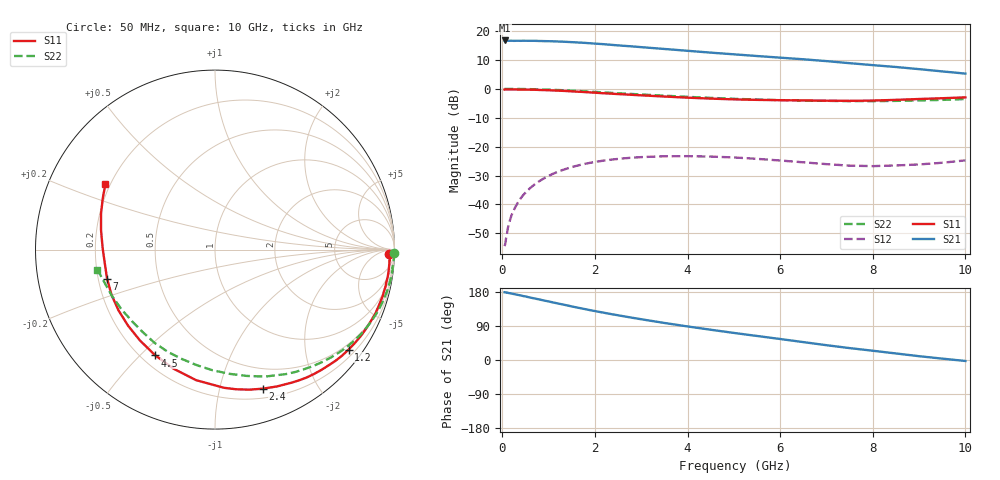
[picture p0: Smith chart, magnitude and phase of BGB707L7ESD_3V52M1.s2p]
!  Infineon Technologies AG
!  BGB707L7ESD RU919007 w#7 Sample Build #08493 Teil Nr. 3
!  Vce = 3.5V, Ic = 2.1mA
!  DATUM: 30.06.2009 10:56:32
# GHz  S  MA  R  50
!f  S11  S21  S12  S22
!GHz  Mag  Ang  Mag  Ang  Mag  Ang  Mag  Ang
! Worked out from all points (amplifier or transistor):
!   52 points, 50 MHz to 10 GHz, reference 50 ohm
!   highest |S21| = 16.7 dB at 60 MHz (marker M1)
!   |S21| within 3 dB of that: start of sweep to 3.545 GHz
!   unconditionally stable (mu >= 1): 7.055 GHz to end of sweep
!   at 130 MHz: K = 0.02, MSG = 32.1 dB, |S12| = -47.5 dB
!   at 1.4 GHz: K = 0.06, MSG = 21.9 dB, |S12| = -27.6 dB
!   at 10 GHz: K = 1.09, MAG = 13.1 dB, |S12| = -24.8 dB
!   lowest NFmin = 0.40 dB at 100 MHz
!   S11 on the Smith chart (normalised r, x): 50 MHz: 38, -34; 1.2 GHz: 0.36, -2.97; 2.4 GHz: 0.29, -1.36; 4.5 GHz: 0.26, -0.56; 7 GHz: 0.24, -0.12; 10 GHz: 0.18, +0.27
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0.05  0.9712 -1.5  6.723 178.9  0.001899 86.3  0.9978 -0.9
0.06  0.9761 -2.2  6.857 178.7  0.00203 80.3  0.9985 -1.2
0.08  0.9732 -2.1  6.736 177.9  0.002565 87.1  0.9984 -1.7
0.09  0.9773 -2.8  6.792 178.3  0.002836 88.0  0.9985 -1.9
0.1  0.9751 -3.2  6.757 177.5  0.003039 84.8  0.9979 -2.2
0.2  0.9747 -6.3  6.784 175.4  0.006517 85.4  0.9967 -4.4
0.4  0.9721 -12.2  6.754 170.3  0.01285 81.4  0.9929 -8.8
0.7  0.9621 -21.6  6.756 162.2  0.02228 75.1  0.9827 -15.4
1.2  0.9297 -36.8  6.576 149.1  0.03676 64.3  0.953 -26.2
1.5  0.9032 -45.7  6.411 141.4  0.04424 58.0  0.9288 -32.6
1.8  0.8762 -54.5  6.211 134.0  0.05065 52.1  0.9026 -38.6
2.2  0.8371 -65.6  5.9 124.6  0.05751 44.7  0.8657 -46.3
2.4  0.8197 -70.9  5.718 120.1  0.06018 41.2  0.8478 -50.0
2.8  0.787 -81.4  5.416 111.6  0.06435 34.9  0.814 -57.0
3.5  0.7351 -98.2  4.886 97.8  0.06814 25.4  0.7608 -68.4
4  0.7027 -109.1  4.545 88.6  0.06844 19.8  0.7261 -75.8
4.5  0.6768 -119.4  4.223 79.9  0.06728 15.0  0.6969 -83.3
5.5  0.6435 -138.9  3.689 63.4  0.06151 8.5  0.6521 -98.9
6.5  0.6292 -156.4  3.24 47.2  0.05356 7.6  0.6275 -114.8
7  0.6228 -164.9  3.011 39.1  0.04979 9.6  0.6191 -123.1
8.5  0.6437 170.5  2.383 17.3  0.04724 25.4  0.6184 -147.5
10  0.7108 149.2  1.832 -2.6  0.05785 37.7  0.6646 -170.3
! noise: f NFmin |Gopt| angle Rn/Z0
0.1  0.4  0.68  2  0.23
0.45  0.51  0.68  4  0.23
0.9  0.57  0.7  13  0.22
1.8  0.65  0.54  36  0.22
5  1.07  0.43  79  0.2
10  2.02  0.48  -143  0.13
